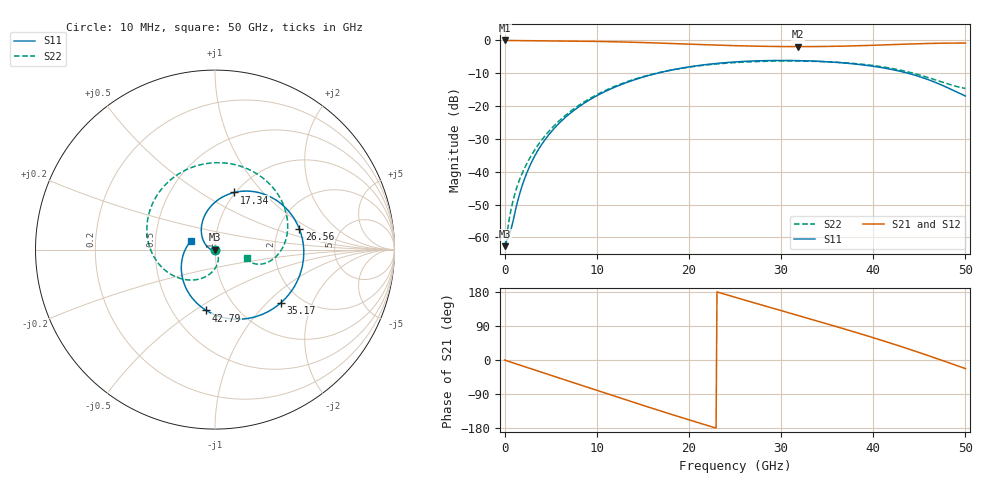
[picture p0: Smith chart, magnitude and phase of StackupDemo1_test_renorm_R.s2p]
! Created with skrf (http://scikit-rf.org).
# GHz S RI R 50.0
! Port[1] = signal_pkg_L4_trace_N_T1
! Port[2] = signal_BGA_N_0_T1
!freq ReS11 ImS11 ReS21 ImS21 ReS12 ImS12 ReS22 ImS22
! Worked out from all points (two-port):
!   500 points, 10 MHz to 50 GHz, reference 50 ohm
!   highest |S21| = -0.01 dB at 10 MHz (marker M1); lowest = -1.9 dB at 31.87 GHz (marker M2)
!   |S21| within 3 dB of the highest: start of sweep to end of sweep
!   lowest |S11| = -62.7 dB at 10 MHz (marker M3), VSWR 1.00, Z = 50.1 + j0.00109 ohm
!   |S11| at or under -10 dB: start of sweep to 16.55 GHz; 43.78 GHz to end of sweep
!   |S22| runs from -62.7 to -6.3 dB; largest |S21 - S12| = 3.2e-10
!   S11 on the Smith chart (normalised r, x): 10 MHz: 1.00, +0.00; 17.34 GHz: 0.99, +0.71; 26.56 GHz: 2.60, +0.79; 35.17 GHz: 1.60, -1.21; 42.79 GHz: 0.73, -0.56; 50 GHz: 0.76, +0.08
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0.01  0.000736 1.08e-05  0.9992 -0.00151  0.9992 -0.00151  0.000737 1e-05
0.6110822  0.000662 -0.000999  0.9935 -0.0872  0.9935 -0.0872  0.00192 -0.00122
1.212164  -0.00108 -0.00247  0.981 -0.1704  0.981 -0.1704  0.0037 -0.00354
1.913427  -0.00511 -0.00339  0.958 -0.2651  0.958 -0.2651  0.0062 -0.00714
2.71487  -0.0117 -0.00279  0.9208 -0.3695  0.9208 -0.3695  0.00966 -0.0127
3.816854  -0.0234 0.00145  0.8513 -0.5044  0.8513 -0.5044  0.0146 -0.0236
5.119198  -0.0394 0.0128  0.7439 -0.6471  0.7439 -0.6471  0.0184 -0.0423
8.42515  -0.0731 0.0763  0.3751 -0.8991  0.3751 -0.8991  -0.00397 -0.1109
12.43237  -0.0521 0.2003  -0.1529 -0.9383  -0.1529 -0.9383  -0.128 -0.1696
16.74012  0.0811 0.3105  -0.6226 -0.6671  -0.6226 -0.6671  -0.3133 -0.0793
17.3412  0.1071 0.3182  -0.6699 -0.6105  -0.6699 -0.6105  -0.3332 -0.0517
21.04788  0.2796 0.3065  -0.8407 -0.2152  -0.8407 -0.2152  -0.3754 0.1652
25.05509  0.4337 0.184  -0.8043 0.2122  -0.8043 0.2122  -0.2489 0.3875
26.5578  0.4694 0.1167  -0.7418 0.3532  -0.7418 0.3532  -0.1665 0.4419
31.86735  0.4688 -0.1515  -0.3694 0.7152  -0.3694 0.7152  0.1651 0.4565
33.37006  0.4319 -0.2221  -0.2328 0.7719  -0.2328 0.7719  0.2468 0.4135
35.17331  0.368 -0.2955  -0.0573 0.8094  -0.0573 0.8094  0.3261 0.3412
38.47926  0.2036 -0.3795  0.2813 0.7817  0.2813 0.7817  0.402 0.1751
41.68503  0.0134 -0.3687  0.5963 0.6193  0.5963 0.6193  0.3815 0.0201
42.78701  -0.0489 -0.3389  0.6911 0.5298  0.6911 0.5298  0.3562 -0.0209
46.59387  -0.184 -0.1446  0.8981 0.1003  0.8981 0.1003  0.2412 -0.0817
50  -0.1337 0.0489  0.8416 -0.3508  0.8416 -0.3508  0.1797 -0.0474
